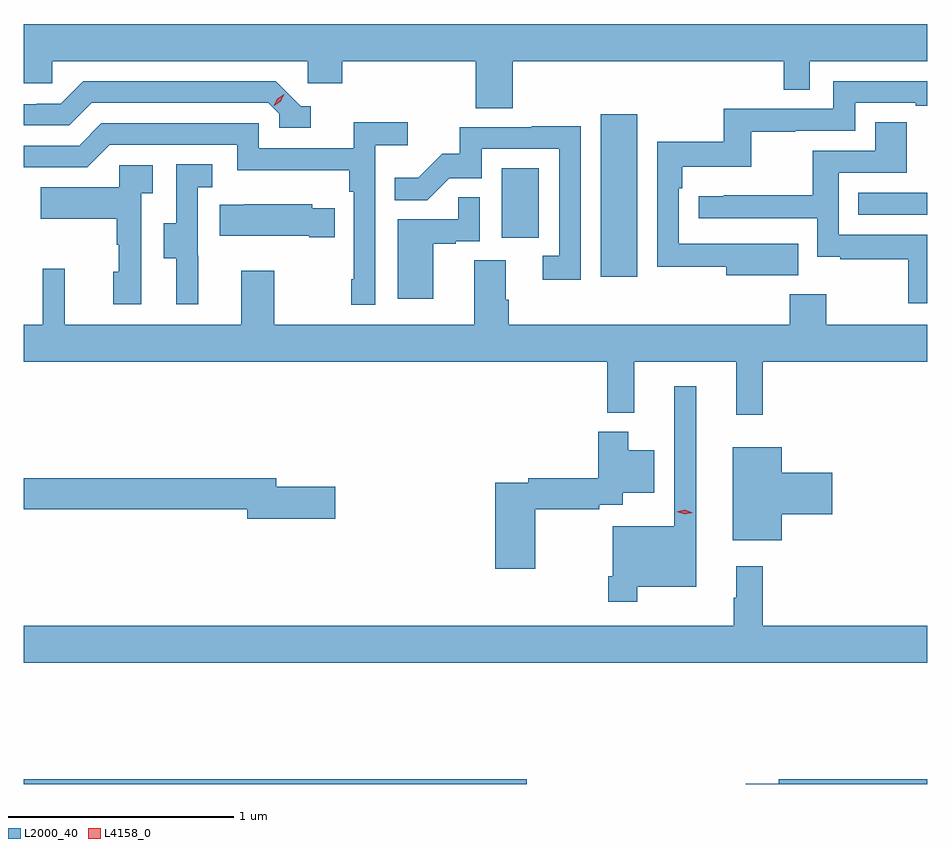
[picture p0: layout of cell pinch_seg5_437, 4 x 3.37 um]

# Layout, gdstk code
import gdstk
lib = gdstk.Library(unit=1e-6, precision=1e-09)
def R(c, l, rs):  # rectangles x0, y0, x1, y1
    for r in rs: c.add(gdstk.rectangle(r[:2], r[2:], *l))
def P(c, l, *ps):  # polygons
    for p in ps: c.add(gdstk.Polygon(p, *l))
L2000_40 = (2000, 40)
L4158_0 = (4158, 0)

pinch_seg5_437 = lib.new_cell('pinch_seg5_437')
R(pinch_seg5_437, L2000_40, [(886.521,865.547,888.748,865.568), (889.076,867.792,889.237,868.513), (888.638,867.966,888.802,868.273), (890.215,868.068,890.521,868.164)])
P(pinch_seg5_437, L2000_40, [(888.686,868.748),(889.885,868.748),(889.885,868.621),(890.001,868.621),(890.001,868.748),(890.521,868.748),(890.521,868.912),(886.521,868.912),(886.521,868.65),(886.647,868.65),(886.647,868.748),(887.778,868.748),(887.778,868.65),(887.93,868.65),(887.93,868.748),(888.521,868.748),(888.521,868.54),(888.686,868.54)],
  [(887.791,868.548),(887.748,868.548),(887.637,868.659),(886.784,868.659),(886.685,868.56),(886.578,868.56),(886.578,868.557),(886.521,868.557),(886.521,868.464),(886.722,868.464),(886.821,868.563),(887.604,868.563),(887.652,868.515),(887.652,868.452),(887.791,868.452)],
  [(889.949,867.94),(889.735,867.94),(889.735,867.939),(889.422,867.939),(889.422,868.184),(889.436,868.184),(889.436,868.28),(889.741,868.28),(889.741,868.435),(889.937,868.435),(889.937,868.44),(890.202,868.44),(890.202,868.563),(890.471,868.563),(890.471,868.551),(890.521,868.551),(890.521,868.659),(890.106,868.659),(890.106,868.536),(889.62,868.536),(889.62,868.39),(889.326,868.39),(889.326,867.838),(889.631,867.838),(889.631,867.8),(889.949,867.8)],
  [(888.078,868.376),(888.22,868.376),(888.22,868.478),(887.981,868.478),(887.981,868.362),(887.562,868.362),(887.562,868.473),(886.865,868.473),(886.766,868.374),(886.521,868.374),(886.521,868.278),(886.803,868.278),(886.902,868.377),(887.466,868.377),(887.466,868.265),(887.962,868.265),(887.962,868.169),(887.982,868.169),(887.982,867.781),(887.97,867.781),(887.97,867.669),(888.078,867.669)],
  [(890.521,867.978),(890.13,867.978),(890.13,868.254),(890.431,868.254),(890.431,868.478),(890.291,868.478),(890.291,868.35),(890.014,868.35),(890.014,868.154),(889.621,868.154),(889.621,868.149),(889.509,868.149),(889.509,868.053),(890.034,868.053),(890.034,867.881),(890.137,867.881),(890.137,867.87),(890.436,867.87),(890.436,867.675),(890.521,867.675)],
  [(888.987,868.46),(888.769,868.46),(888.769,868.455),(888.451,868.455),(888.451,868.338),(888.374,868.338),(888.267,868.231),(888.163,868.231),(888.163,868.132),(888.307,868.132),(888.405,868.23),(888.549,868.23),(888.549,868.359),(888.891,868.359),(888.891,867.885),(888.819,867.885),(888.819,867.78),(888.987,867.78)],
  [(887.294,867.885),(887.292,867.885),(887.292,868.189),(887.356,868.189),(887.356,868.292),(887.196,868.292),(887.196,868.029),(887.141,868.029),(887.141,867.874),(887.195,867.874),(887.195,867.672),(887.294,867.672)],
  [(887.04,868.163),(887.092,868.163),(887.092,868.287),(886.944,868.287),(886.944,868.189),(886.597,868.189),(886.597,868.049),(886.932,868.049),(886.932,867.935),(886.942,867.935),(886.942,867.816),(886.916,867.816),(886.916,867.672),(887.04,867.672)],
  [(888.334,867.939),(888.434,867.939),(888.434,867.951),(888.54,867.951),(888.54,868.145),(888.445,868.145),(888.445,868.047),(888.176,868.047),(888.176,867.696),(888.334,867.696)],
  [(887.897,868.096),(887.799,868.096),(887.799,868.114),(887.497,868.114),(887.497,868.111),(887.389,868.111),(887.389,867.974),(887.786,867.974),(887.786,867.967),(887.897,867.967)],
  [(889.793,867.416),(890.521,867.416),(890.521,867.58),(890.073,867.58),(890.073,867.715),(889.913,867.715),(889.913,867.58),(888.668,867.58),(888.668,867.692),(888.655,867.692),(888.655,867.866),(888.515,867.866),(888.515,867.58),(887.631,867.58),(887.631,867.82),(887.483,867.82),(887.483,867.58),(886.703,867.58),(886.703,867.829),(886.605,867.829),(886.605,867.58),(886.521,867.58),(886.521,867.416),(889.105,867.416),(889.105,867.191),(889.223,867.191),(889.223,867.416),(889.676,867.416),(889.676,867.183),(889.793,867.183)],
  [(889.237,866.42),(889.498,866.42),(889.498,867.307),(889.401,867.307),(889.401,866.689),(889.128,866.689),(889.128,866.467),(889.108,866.467),(889.108,866.355),(889.237,866.355)],
  [(888.786,866.764),(889.07,866.764),(889.07,866.784),(889.173,866.784),(889.173,866.837),(889.312,866.837),(889.312,867.025),(889.198,867.025),(889.198,867.106),(889.064,867.106),(889.064,866.9),(888.754,866.9),(888.754,866.88),(888.608,866.88),(888.608,866.499),(888.786,866.499)],
  [(889.876,866.741),(890.101,866.741),(890.101,866.924),(889.876,866.924),(889.876,867.037),(889.661,867.037),(889.661,866.627),(889.876,866.627)],
  [(887.899,866.864),(887.638,866.864),(887.638,866.9),(886.521,866.9),(886.521,866.764),(887.51,866.764),(887.51,866.722),(887.899,866.722)],
  [(890.521,866.248),(889.793,866.248),(889.793,866.512),(889.676,866.512),(889.676,866.372),(889.665,866.372),(889.665,866.248),(886.521,866.248),(886.521,866.084),(890.521,866.084)],
  [(890.521,865.568),(889.864,865.568),(889.864,865.548),(889.718,865.548),(889.718,865.547),(890.521,865.547)])
P(pinch_seg5_437, L4158_0, [(887.628,868.549),(887.628,868.549),(887.644,868.582),(887.674,868.602),(887.674,868.602),(887.674,868.601),(887.659,868.569),(887.629,868.549)],
  [(889.447,866.741),(889.412,866.752),(889.411,866.753),(889.412,866.753),(889.448,866.761),(889.483,866.749),(889.483,866.749),(889.483,866.749)])

lib.write_gds('pinch_seg5_437.gds')
